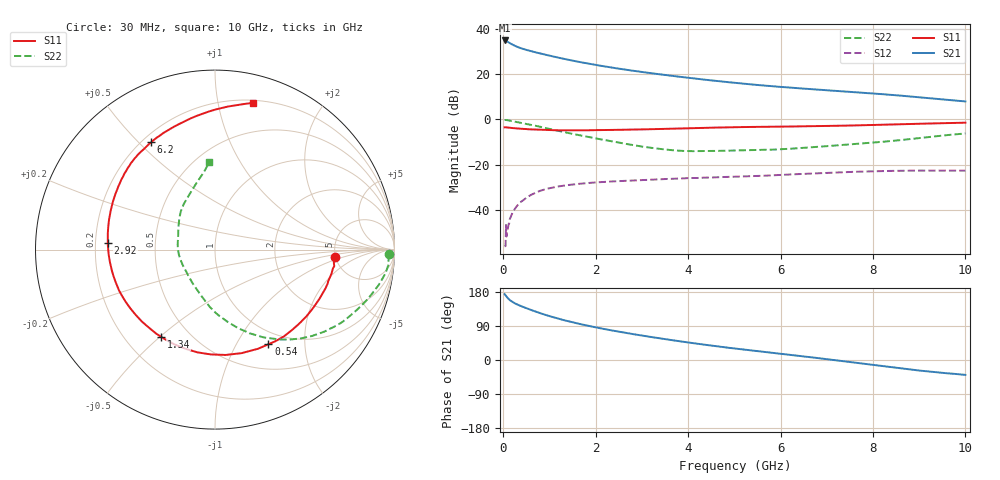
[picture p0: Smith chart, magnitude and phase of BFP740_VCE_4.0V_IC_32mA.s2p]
! Infineon Technologies  Discrete & RF Semiconductors
! BFP740
! VCE =  4.0 V,  IC =  32 mA
! Common Emitter S-Parameters:  Jan 2016
# GHz  S  MA  R  50
!  f  S11  S21  S12  S22
! GHz  MAG  ANG  MAG  ANG  MAG  ANG  MAG  ANG
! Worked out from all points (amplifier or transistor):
!   229 points, 30 MHz to 10 GHz, reference 50 ohm
!   highest |S21| = 34.8 dB at 30 MHz (marker M1)
!   |S21| within 3 dB of that: start of sweep to 325.9 MHz
!   unconditionally stable (mu >= 1): 6.124 GHz to 7.807 GHz; 9.175 GHz to 9.447 GHz
!   at 280 MHz: K = 0.33, MSG = 35.4 dB, |S12| = -38.6 dB
!   at 1.78 GHz: K = 0.51, MSG = 26.5 dB, |S12| = -28.2 dB
!   at 10 GHz: K = 0.99, MSG = 15.3 dB, |S12| = -22.6 dB
!   S11 on the Smith chart (normalised r, x): 30 MHz: 4.90, -0.76; 540 MHz: 0.82, -1.37; 1.34 GHz: 0.35, -0.51; 2.92 GHz: 0.25, +0.03; 6.2 GHz: 0.24, +0.55; 10 GHz: 0.22, +1.27
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0.03  0.6681 -3.7  54.91 173.8  0.0016 62.7  0.9677 -1.6
0.06  0.6707 -7.9  53.66 168.7  0.0047 90.0  0.9716 -4.8
0.12  0.6548 -15.7  49.69 160.5  0.005 82.9  0.9452 -10.1
0.15  0.6526 -19.2  47.54 157.4  0.0066 72.3  0.9324 -12.3
0.2  0.6435 -25.1  44.5 153.1  0.0087 77.0  0.9096 -15.6
0.26  0.6348 -31.8  41.53 149.0  0.011 73.4  0.8858 -19.2
0.36  0.6235 -42.5  37.72 143.5  0.0146 70.3  0.8469 -24.8
0.54  0.6054 -60.6  33.16 135.0  0.0198 62.5  0.7817 -34.0
0.7  0.5956 -75.6  30.07 127.8  0.0241 56.6  0.7237 -41.7
0.9  0.5845 -92.3  26.88 119.5  0.0287 50.7  0.6514 -50.3
1.12  0.5755 -108.1  23.84 111.4  0.0322 44.8  0.5783 -58.6
1.34  0.571 -121.6  21.3 104.3  0.0349 40.4  0.5178 -65.8
1.7  0.5724 -140.2  18.02 93.9  0.0383 34.8  0.4352 -76.2
2.26  0.583 -162.8  14.33 80.0  0.0422 28.7  0.3407 -91.4
2.92  0.5985 176.6  11.38 66.1  0.0455 24.2  0.2594 -109.2
3.4  0.6136 164.1  9.802 56.9  0.0478 21.0  0.2228 -125.1
4.3  0.6467 145.0  7.62 41.2  0.0515 17.0  0.1993 -158.0
5.1  0.6738 132.8  6.257 29.0  0.0547 14.0  0.2067 179.4
6.2  0.695 120.7  5.017 13.8  0.0609 10.3  0.2248 155.8
6.8  0.7107 113.8  4.535 5.2  0.0647 6.9  0.2471 144.8
8.4  0.771 92.3  3.465 -18.9  0.0731 -4.6  0.3334 116.3
10  0.8445 75.5  2.485 -39.3  0.074 -14.6  0.4893 93.7
